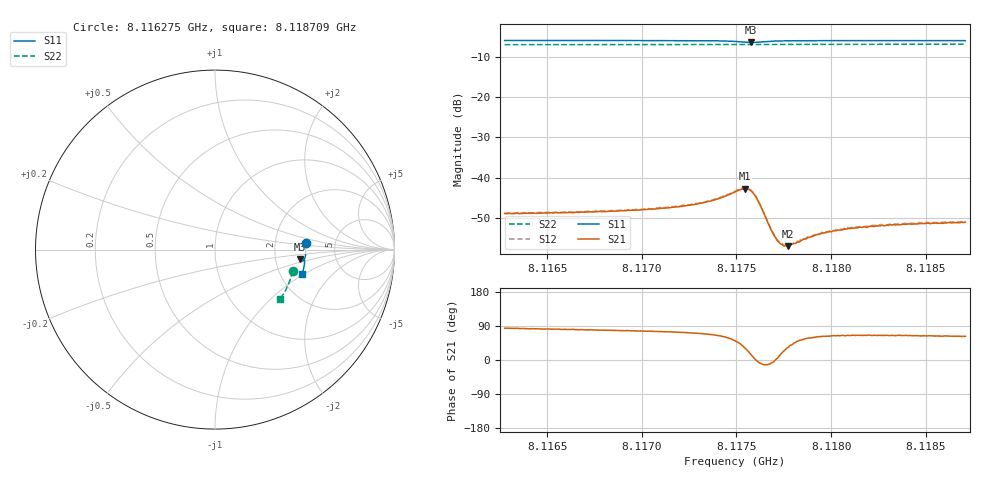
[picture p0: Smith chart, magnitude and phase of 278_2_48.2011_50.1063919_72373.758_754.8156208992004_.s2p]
#  HZ  S  RI  R  50.00
! Rohde & Schwarz Vector Network Analyzer
! Rohde-Schwarz,ZNB20-2Port,1311601062101988,3.16
! Created: UTC 3/20/2024, 11:48:33 AM
! freq[Hz]  re:S11  im:S11  re:S21  im:S21  re:S12  im:S12  re:S22  im:S22
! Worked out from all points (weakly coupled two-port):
!   401 points, 8.116275 GHz to 8.118709 GHz, reference 50 ohm
!   highest |S21| = -42.77 dB at 8.117547 GHz (marker M1); lowest = -57.1 dB at 8.117772 GHz (marker M2)
!   lowest |S11| = -6.4 dB at 8.117577 GHz (marker M3), VSWR 2.84, Z = 139 - j19.5 ohm
!   |S11| at or under -10 dB: nowhere
!   |S22| runs from -7.0 to -6.8 dB; largest |S21 - S12| = 0.00021
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8.1162749e9  0.5056 0.0377  0.000389 0.00355  0.000443 0.00358  0.4327 -0.1204
8.1166827e9  0.5063 0.00673  0.000658 0.00366  0.000723 0.00371  0.4253 -0.1478
8.1169079e9  0.5059 -0.0107  0.000839 0.00378  0.000882 0.00381  0.4205 -0.1626
8.1170905e9  0.5049 -0.0251  0.00108 0.00395  0.00111 0.00402  0.4163 -0.1746
8.1172e9  0.5038 -0.0343  0.00126 0.00417  0.00136 0.00423  0.4134 -0.1819
8.1173218e9  0.5015 -0.0452  0.0017 0.00452  0.0018 0.00459  0.4103 -0.1899
8.1174131e9  0.498 -0.0543  0.00246 0.00495  0.00255 0.00503  0.4076 -0.1956
8.1174922e9  0.4898 -0.0623  0.00417 0.00514  0.00431 0.00519  0.405 -0.2007
8.117547e9  0.4787 -0.0613  0.00625 0.00371  0.00642 0.00372  0.4029 -0.2038
8.1175774e9  0.4755 -0.0541  0.00659 0.00162  0.00677 0.00159  0.4021 -0.2053
8.1175957e9  0.477 -0.0494  0.00606 0.000365  0.00618 0.000337  0.4017 -0.2063
8.1176139e9  0.4809 -0.0465  0.00511 -0.000437  0.0052 -0.000464  0.4014 -0.2073
8.1176809e9  0.4933 -0.0497  0.00224 -0.000343  0.00231 -0.000419  0.3999 -0.2116
8.1177113e9  0.496 -0.0535  0.0017 8.98e-05  0.00172 8.77e-05  0.3993 -0.2136
8.1177417e9  0.4975 -0.0572  0.00138 0.000485  0.00143 0.000489  0.3981 -0.2156
8.11776e9  0.498 -0.0593  0.00126 0.000673  0.00128 0.000643  0.3978 -0.2169
8.1177722e9  0.4983 -0.0608  0.00117 0.000762  0.00121 0.000799  0.3975 -0.2176
8.1179e9  0.4987 -0.0736  0.000954 0.00158  0.000947 0.0016  0.3934 -0.2256
8.1179791e9  0.498 -0.0806  0.000953 0.00186  0.000975 0.00188  0.3908 -0.2308
8.1180825e9  0.4968 -0.0892  0.000973 0.00206  0.000996 0.00209  0.3874 -0.2371
8.1183077e9  0.4933 -0.1067  0.00112 0.00232  0.00111 0.00238  0.3796 -0.2508
8.1187094e9  0.4857 -0.1362  0.00127 0.00246  0.00131 0.0025  0.3642 -0.2745
